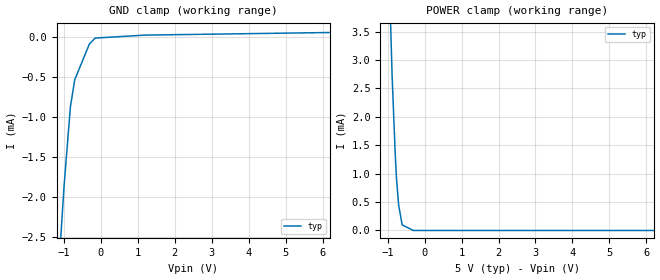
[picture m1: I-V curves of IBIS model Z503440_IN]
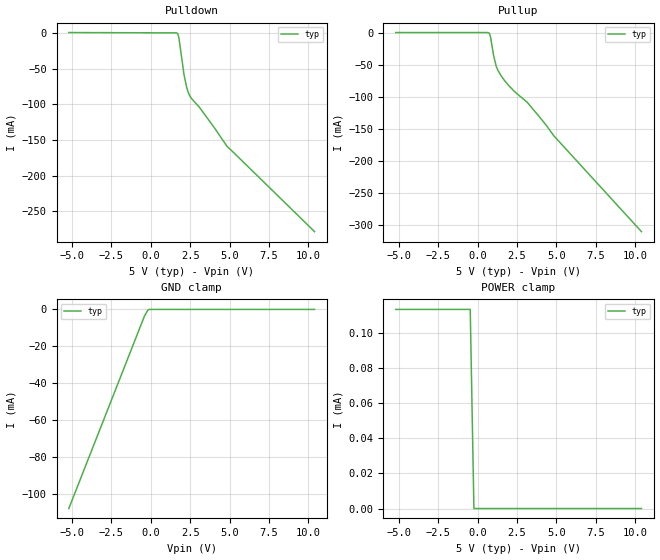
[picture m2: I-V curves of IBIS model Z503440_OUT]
| YOU ARE ONLY AUTHORIZED TO USE THIS SOFTWARE
| ACCORDING TO LICENSOR'S LICENSE RESTRICTIONS.
[IBIS Ver] 3.1
[File Name] mc10h109fn_50.ibs
[File Rev] 1
[Source] Derived from mc10h107p.ibs and mc100h644fn_pecl.ibs
|   Measured and created by ICX Technology
[Date]  2/19/2004
[Copyright]
| (C) COPYRIGHT 1993-2000
| MENTOR GRAPHICS CORPORATION
| ICX STANDARD LIBRARY, ICX PROJECT MODELING,
| ICX CUSTOM MODELING, ICX VENDOR MODEL
| ALL RIGHTS RESERVED.
| THE FOLLOWING ARE TRADEMARKS OR SERVICE MARKS OF
| MENTOR GRAPHICS CORPORATION:ICX (R), ICX STANDARD
| LIBRARY(R), ICX PROJECT MODELING(R), ICX CUSTOM
| MODELING(R), qualityIBIS(TM), MODELVIEWER(TM),
| AND MODELEDITOR(TM)
| ALL COPIES OF SOFTWARE, INCLUDING BUT NOT LIMITED TO
| ANY MODIFICATIONS, ENHANCEMENTS OR DERIVATIVE WORKS,
| MUST CONTAIN ALL MENTOR GRAPHICS CORPORATION'S
| NOTICES AND LEGENDS, INCLUDING THOSE EMBEDDED IN
| SOFTWARE AND THOSE AFFIXED TO SOFTWARE MEDIUM
| AND CONTAINER, AS RECEIVED FROM MENTOR GRAPHICS
| CORPORATION.
|  ZAP Model Builder 2.7
[Component] MC10H109FN_50
[Manufacturer] On Semiconductor
[Package]
| variable   typ   min   max
R_pkg  .078ohms NA NA
L_pkg  3.58nH NA NA
C_pkg  .884pF NA NA
[Pin] signal_name  model_name  R_pin  L_pin C_pin
1 NC NC
2 VCC1 POWER .224 7.258n 1.578p
3 A0UT Z503440_OUT .216 5.258n 1.288p
4 _A0UT Z503440_OUT .208 3.758n .998p
5 AIN Z503440_IN .2 2.758n .708p
6 NC NC
7 AIN Z503440_IN .2 2.758n .708p
8 AIN Z503440_IN .2 2.758n .708p
9 AIN Z503440_IN .2 2.758n .708p
10 VEE POWER .224 7.258n 1.578p
11 NC NC
12 BIN Z503440_IN .224 7.258n 1.578p
13 BIN Z503440_IN .224 7.258n 1.578p
14 BIN Z503440_IN .224 7.258n 1.578p
15 BIN Z503440_IN .224 7.258n 1.578p
16 NC NC
17 BIN Z503440_IN .224 7.258n 1.578p
18 _B0 Z503440_OUT .216 5.258n 1.288p
19 B0 Z503440_OUT .216 5.258n 1.288p
20 VCC2 POWER .224 7.258n 1.578p
[Diff Pin] inv_pin vdiff tdelay_typ tdelay_min tdelay_max
3 4 NA NA NA NA
19 18 NA NA NA NA
| Models and submodels in the file (2): Z503440_IN (Input_ECL), Z503440_OUT (Output_ECL)
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| (C) COPYRIGHT 1993-2000
| MENTOR GRAPHICS CORPORATION
| ICX STANDARD LIBRARY, ICX PROJECT MODELING,
| ICX CUSTOM MODELING, ICX VENDOR MODEL
| ALL RIGHTS RESERVED.
| THE FOLLOWING ARE TRADEMARKS OR SERVICE MARKS OF
| MENTOR GRAPHICS CORPORATION:ICX (R), ICX STANDARD
| LIBRARY(R), ICX PROJECT MODELING(R), ICX CUSTOM
| MODELING(R), qualityIBIS(TM), MODELVIEWER(TM),
| AND MODELEDITOR(TM)
| ALL COPIES OF SOFTWARE, INCLUDING BUT NOT LIMITED TO
| ANY MODIFICATIONS, ENHANCEMENTS OR DERIVATIVE WORKS,
| MUST CONTAIN ALL MENTOR GRAPHICS CORPORATION'S
| NOTICES AND LEGENDS, INCLUDING THOSE EMBEDDED IN
| SOFTWARE AND THOSE AFFIXED TO SOFTWARE MEDIUM
| AND CONTAINER, AS RECEIVED FROM MENTOR GRAPHICS
| CORPORATION.
| Model Application Version 1.89 2/18/99.
[Model] Z503440_IN
Model_type Input_ECL
Vinl = 3.520V
Vinh = 3.870V
C_comp 2.00pF NA NA
| variable typ   min   max
[Voltage Range] 5.000V NA NA
[GND Clamp Reference] 0.000V NA NA
[POWER Clamp Reference] 5.000V NA NA
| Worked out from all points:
|   GND clamp passes 1 mA (typ) near -0.85 V on its own axis
|   POWER clamp passes 1 mA (typ) near -0.77 V on its own axis
[GND Clamp]
-5.2V     -35.34mA   NA         NA
-1.181V   -3.208mA   NA         NA
-996mV    -1.867mA   NA         NA
-825mV    -874.8uA   NA         NA
-708mV    -533.4uA   NA         NA
-312mV    -85.03uA   NA         NA
-156mV    -9.346uA   NA         NA
1.182V    28.1uA     NA         NA
10.4V     88.25uA    NA         NA
[POWER Clamp]
-5.2V     118.2mA    NA         NA
-1.425V   16.13mA    NA         NA
-1.094V   7.546mA    NA         NA
-878.9mV  2.706mA    NA         NA
-794.2mV  1.327mA    NA         NA
-761.3mV  913.2uA    NA         NA
-702.9mV  448.9uA    NA         NA
-608.5mV  98.11uA    NA         NA
-304.3mV  0A         NA         NA
10.4V     0A         NA         NA
| (C) COPYRIGHT 1993-2000
| MENTOR GRAPHICS CORPORATION
| ICX STANDARD LIBRARY, ICX PROJECT MODELING,
| ICX CUSTOM MODELING, ICX VENDOR MODEL
| ALL RIGHTS RESERVED.
| THE FOLLOWING ARE TRADEMARKS OR SERVICE MARKS OF
| MENTOR GRAPHICS CORPORATION:ICX (R), ICX STANDARD
| LIBRARY(R), ICX PROJECT MODELING(R), ICX CUSTOM
| MODELING(R), qualityIBIS(TM), MODELVIEWER(TM),
| AND MODELEDITOR(TM)
| ALL COPIES OF SOFTWARE, INCLUDING BUT NOT LIMITED TO
| ANY MODIFICATIONS, ENHANCEMENTS OR DERIVATIVE WORKS,
| MUST CONTAIN ALL MENTOR GRAPHICS CORPORATION'S
| NOTICES AND LEGENDS, INCLUDING THOSE EMBEDDED IN
| SOFTWARE AND THOSE AFFIXED TO SOFTWARE MEDIUM
| AND CONTAINER, AS RECEIVED FROM MENTOR GRAPHICS
| CORPORATION.
| Model Application Version 1.89 2/18/99.
[Model] Z503440_OUT
Model_type Output_ECL
Vref=3.000V
Rref=50.00ohms
Cref=0.000F
Vmeas=3.657V
C_comp 2.00pF NA NA
| variable typ   min   max
[Voltage Range] 5.000V NA NA
[POWER Clamp Reference] 5.000V NA NA
[Pullup Reference] 5.000V NA NA
[Pulldown Reference] 5.000V NA NA
[GND Clamp Reference] 0.000V NA NA
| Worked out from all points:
|   GND clamp passes 1 mA (typ) near -0.23 V on its own axis
[GND Clamp]
-5.2V     -107.8mA   NA         NA
-401mV    -3.659mA   NA         NA
-191mV    -485.3uA   NA         NA
-95.5mV   0A         NA         NA
10.4V     0A         NA         NA
[Pulldown]
-5.2V     463.2uA    NA         NA
1.704V    -918.8uA   NA         NA
1.758V    -4.091mA   NA         NA
1.797V    -8.199mA   NA         NA
2.115V    -59.06mA   NA         NA
2.277V    -75.83mA   NA         NA
2.354V    -81.82mA   NA         NA
2.544V    -90.55mA   NA         NA
3.066V    -103.6mA   NA         NA
3.96V     -130.5mA   NA         NA
4.863V    -159.6mA   NA         NA
10.4V     -278.5mA   NA         NA
[Pullup]
-5.2V     9.347uA    NA         NA
728mV     -859uA     NA         NA
820.3mV   -6.904mA   NA         NA
1.025V    -36.98mA   NA         NA
1.187V    -53.14mA   NA         NA
1.471V    -66.63mA   NA         NA
1.682V    -73.93mA   NA         NA
2.302V    -90.95mA   NA         NA
3.145V    -108.6mA   NA         NA
4.361V    -144.7mA   NA         NA
4.841V    -161mA     NA         NA
10.4V     -310.3mA   NA         NA
[POWER Clamp]
-5.2V     113.4uA    NA         NA
-468.8mV  113.4uA    NA         NA
-234.4mV  0A         NA         NA
10.4V     0A         NA         NA
[Ramp]
| variable typ min max
dV/dt_r 550.4m/572.7p NA NA
dV/dt_f 550.4m/485.4p NA NA
R_load = 50.0Ohms
